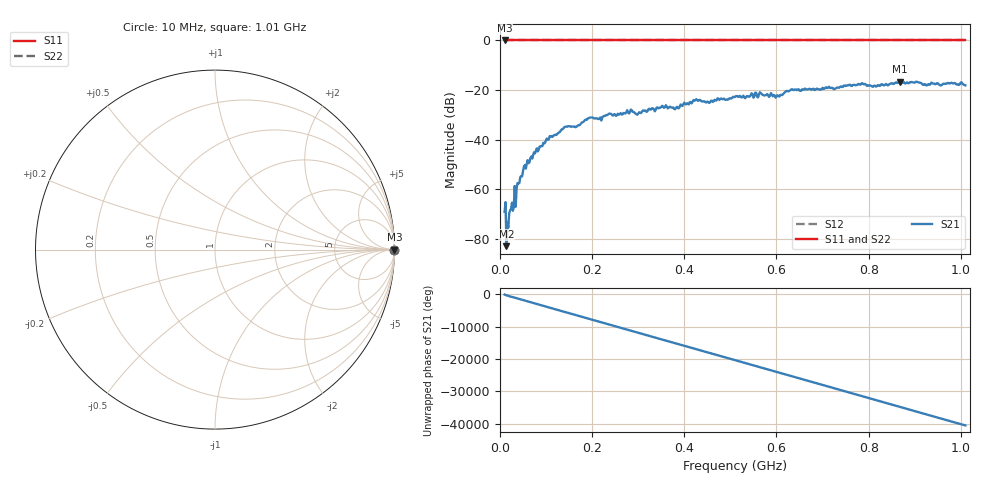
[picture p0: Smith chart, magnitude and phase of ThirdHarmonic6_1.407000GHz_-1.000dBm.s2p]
! 8/16/2025 4:07:03 PM
! C:\ANRITSUVNA\TEMP\TEMP.S2P
! CHANNEL.1
! TR.MEASUREMENT
! RAW.DATA
! RF.CORRECTION.OFF
! AVERAGING.OFF
! IF.BANDWIDTH: 5KHZ
! SWEEPTYPE:  FREQ.SWEEP(Linear)
! Reference Plane Port Info
! PORT:  PORT1  PORT2
! DISTANCE:  0  m  0  m
! TIME:  0  s  0  s
! PHASE.OFFSET:  0  deg.  0  deg.
! LOSS:  0  dB  0  dB
! REF.LOSS:  0  dB  0  dB
! REF.FREQ:  0  Hz  0  Hz
! Power Info
! POWER:  -20  dBm  -20  dBm
! EFF.POWER:  -20  dBm  -20  dBm
! SOURCE.ATTEN:  0  dB  0  dB
! TEST.ATTEN:  0  dB  0  dB
# GHZ S RI R 50.0
! FREQ.GHZ  S11RE  S11IM  S21RE  S21IM  S12RE  S12IM  S22RE  S22IM
!; PortSelection: Port_12
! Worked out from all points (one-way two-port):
!   501 points, 10 MHz to 1.01 GHz, reference 50 ohm
!   highest |S21| = -16.54 dB at 868 MHz (marker M1); lowest = -82.9 dB at 14 MHz (marker M2)
!   lowest |S11| = 0.0 dB at 10 MHz (marker M3)
!   |S11| at or under -10 dB: nowhere
!   |S22| runs from 0.0 to 0.0 dB; largest |S21 - S12| = 1.1
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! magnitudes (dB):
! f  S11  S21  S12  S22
! 10 MHz  0.0  -69.0  0.0  0.0
! 14 MHz  0.0  -82.9  0.0  0.0
! 18 MHz  0.0  -75.4  0.0  0.0
! 40 MHz  0.0  -57.6  0.0  0.0
! 50 MHz  0.0  -52.5  0.0  0.0
! 76 MHz  0.0  -45.5  0.0  0.0
! 138 MHz  0.0  -35.3  0.0  0.0
! 178 MHz  0.0  -33.0  0.0  0.0
! 196 MHz  0.0  -31.0  0.0  0.0
! 286 MHz  0.0  -28.2  0.0  0.0
! 300 MHz  0.0  -29.5  0.0  0.0
! 344 MHz  0.0  -27.4  0.0  0.0
! 382 MHz  0.0  -27.2  0.0  0.0
! 424 MHz  0.0  -24.1  0.0  0.0
! 452 MHz  0.0  -24.9  0.0  0.0
! 510 MHz  0.0  -22.7  0.0  0.0
! 602 MHz  0.0  -22.0  0.0  0.0
! 632 MHz  0.0  -19.7  0.0  0.0
! 678 MHz  0.0  -19.6  0.0  0.0
! 844 MHz  0.0  -17.7  0.0  0.0
! 868 MHz  0.0  -16.5  0.0  0.0
! 1.01 GHz  0.0  -18.1  0.0  0.0
